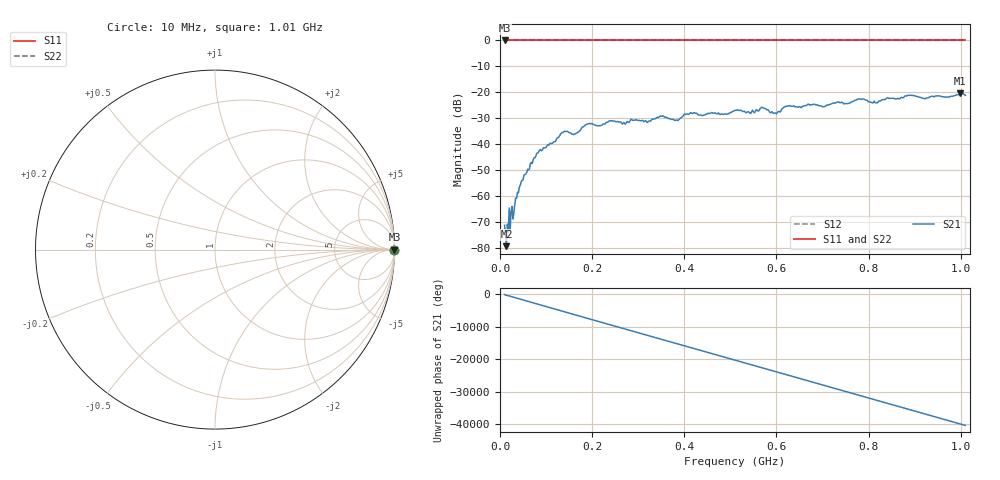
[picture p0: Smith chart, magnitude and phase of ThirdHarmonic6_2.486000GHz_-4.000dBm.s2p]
! 8/17/2025 4:40:12 AM
! C:\ANRITSUVNA\TEMP\TEMP.S2P
! CHANNEL.1
! TR.MEASUREMENT
! RAW.DATA
! RF.CORRECTION.OFF
! AVERAGING.OFF
! IF.BANDWIDTH: 5KHZ
! SWEEPTYPE:  FREQ.SWEEP(Linear)
! Reference Plane Port Info
! PORT:  PORT1  PORT2
! DISTANCE:  0  m  0  m
! TIME:  0  s  0  s
! PHASE.OFFSET:  0  deg.  0  deg.
! LOSS:  0  dB  0  dB
! REF.LOSS:  0  dB  0  dB
! REF.FREQ:  0  Hz  0  Hz
! Power Info
! POWER:  -20  dBm  -20  dBm
! EFF.POWER:  -20  dBm  -20  dBm
! SOURCE.ATTEN:  0  dB  0  dB
! TEST.ATTEN:  0  dB  0  dB
# GHZ S RI R 50.0
! FREQ.GHZ  S11RE  S11IM  S21RE  S21IM  S12RE  S12IM  S22RE  S22IM
!; PortSelection: Port_12
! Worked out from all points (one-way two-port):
!   501 points, 10 MHz to 1.01 GHz, reference 50 ohm
!   highest |S21| = -20.30 dB at 998 MHz (marker M1); lowest = -79.3 dB at 14 MHz (marker M2)
!   lowest |S11| = 0.0 dB at 10 MHz (marker M3)
!   |S11| at or under -10 dB: nowhere
!   |S22| runs from 0.0 to 0.0 dB; largest |S21 - S12| = 1.1
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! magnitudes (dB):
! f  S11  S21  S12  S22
! 10 MHz  0.0  -71.2  0.0  0.0
! 14 MHz  0.0  -79.3  0.0  0.0
! 48 MHz  0.0  -54.0  0.0  0.0
! 82 MHz  0.0  -43.4  0.0  0.0
! 136 MHz  0.0  -35.5  0.0  0.0
! 160 MHz  0.0  -36.3  0.0  0.0
! 178 MHz  0.0  -33.5  0.0  0.0
! 192 MHz  0.0  -32.2  0.0  0.0
! 322 MHz  0.0  -31.2  0.0  0.0
! 344 MHz  0.0  -29.7  0.0  0.0
! 384 MHz  0.0  -30.7  0.0  0.0
! 416 MHz  0.0  -28.1  0.0  0.0
! 510 MHz  0.0  -27.0  0.0  0.0
! 542 MHz  0.0  -28.0  0.0  0.0
! 570 MHz  0.0  -25.9  0.0  0.0
! 598 MHz  0.0  -28.0  0.0  0.0
! 624 MHz  0.0  -25.3  0.0  0.0
! 678 MHz  0.0  -24.7  0.0  0.0
! 818 MHz  0.0  -24.1  0.0  0.0
! 844 MHz  0.0  -22.3  0.0  0.0
! 998 MHz  0.0  -20.3  0.0  0.0
! 1.01 GHz  0.0  -21.2  0.0  0.0
